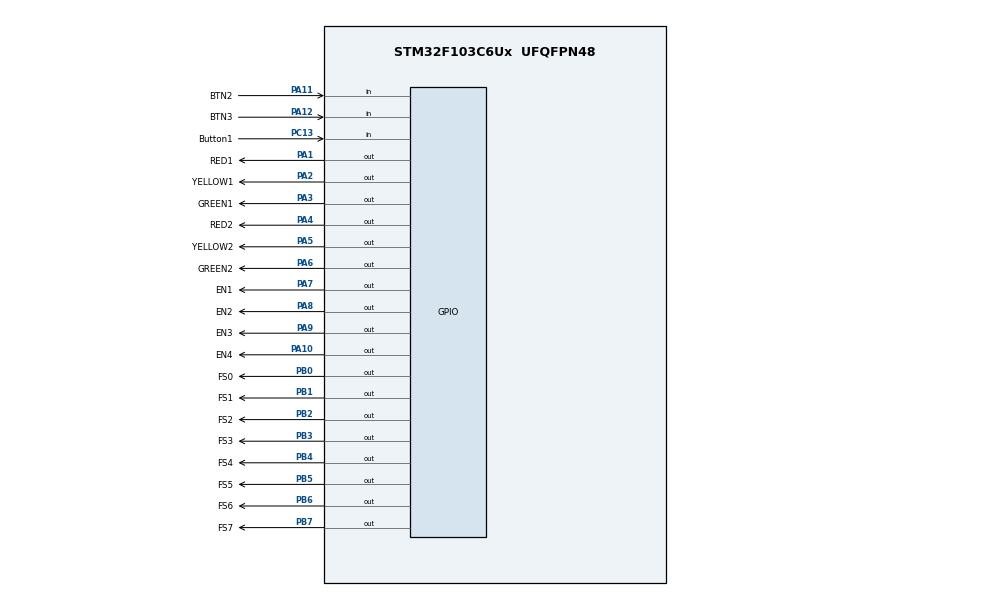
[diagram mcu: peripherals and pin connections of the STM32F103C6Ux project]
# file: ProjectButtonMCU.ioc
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Mcu.Family=STM32F1
Mcu.Name=STM32F103C6Ux
Mcu.Package=UFQFPN48
NVIC.PriorityGroup=NVIC_PRIORITYGROUP_4
NVIC.TIM2_IRQn=true\:0\:0\:false\:false\:true\:true\:true\:true
PA1.GPIO_Label=RED1
PA1.Signal=GPIO_Output
PA10.GPIO_Label=EN4
PA10.Signal=GPIO_Output
PA11.GPIO_Label=BTN2
PA11.GPIO_PuPd=GPIO_PULLUP
PA11.Signal=GPIO_Input
PA12.GPIO_Label=BTN3
PA12.GPIO_PuPd=GPIO_PULLUP
PA12.Signal=GPIO_Input
PA2.GPIO_Label=YELLOW1
PA2.Signal=GPIO_Output
PA3.GPIO_Label=GREEN1
PA3.Signal=GPIO_Output
PA4.GPIO_Label=RED2
PA4.Signal=GPIO_Output
PA5.GPIO_Label=YELLOW2
PA5.Signal=GPIO_Output
PA6.GPIO_Label=GREEN2
PA6.Signal=GPIO_Output
PA7.GPIO_Label=EN1
PA7.Signal=GPIO_Output
PA8.GPIO_Label=EN2
PA8.Signal=GPIO_Output
PA9.GPIO_Label=EN3
PA9.Signal=GPIO_Output
PB0.GPIO_Label=FS0
PB0.Signal=GPIO_Output
PB1.GPIO_Label=FS1
PB1.Signal=GPIO_Output
PB2.GPIO_Label=FS2
PB2.Signal=GPIO_Output
PB3.GPIO_Label=FS3
PB3.Signal=GPIO_Output
PB4.GPIO_Label=FS4
PB4.Signal=GPIO_Output
PB5.GPIO_Label=FS5
PB5.Signal=GPIO_Output
PB6.GPIO_Label=FS6
PB6.Signal=GPIO_Output
PB7.GPIO_Label=FS7
PB7.Signal=GPIO_Output
PC13-TAMPER-RTC.GPIO_Label=Button1
PC13-TAMPER-RTC.GPIO_PuPd=GPIO_PULLUP
PC13-TAMPER-RTC.Signal=GPIO_Input
ProjectManager.HeapSize=0x200
ProjectManager.StackSize=0x400
ProjectManager.TargetToolchain=STM32CubeIDE
RCC.APB1Freq_Value=8000000
RCC.APB2Freq_Value=8000000
TIM2.Period=9
TIM2.Prescaler=7999
VP_TIM2_VS_ClockSourceINT.Mode=Internal
board=custom

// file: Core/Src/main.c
/* USER CODE BEGIN Header */
/**
  ******************************************************************************
  * @file           : main.c
  * @brief          : Main program body
  ******************************************************************************
  * @attention
  *
  * Copyright (c) 2023 STMicroelectronics.
  * All rights reserved.
  *
  * This software is licensed under terms that can be found in the LICENSE file
  * in the root directory of this software component.
  * If no LICENSE file comes with this software, it is provided AS-IS.
  *
  ******************************************************************************
  */
/* USER CODE END Header */
#include "main.h"

/* USER CODE BEGIN Includes */
#include "button.h"
#include "sorfware_timer.h"
#include "fsm.h"
#include "display7SEG.h"
/* USER CODE END Includes */

TIM_HandleTypeDef htim2;

void SystemClock_Config(void);
static void MX_GPIO_Init(void);
static void MX_TIM2_Init(void);

int main(void)
{

  /* MCU Configuration--------------------------------------------------------*/

  /* Reset of all peripherals, Initializes the Flash interface and the Systick. */
  HAL_Init();

  /* Configure the system clock */
  SystemClock_Config();

  /* Initialize all configured peripherals */
  MX_GPIO_Init();
  MX_TIM2_Init();
  /* USER CODE BEGIN 2 */
  HAL_TIM_Base_Start_IT(&htim2);
  /* USER CODE END 2 */

  /* Infinite loop */
  /* USER CODE BEGIN WHILE */
	HAL_GPIO_WritePin(EN1_GPIO_Port, EN1_Pin, SET);
	HAL_GPIO_WritePin(EN2_GPIO_Port, EN2_Pin, SET);
	HAL_GPIO_WritePin(EN3_GPIO_Port, EN3_Pin, SET);
	HAL_GPIO_WritePin(EN4_GPIO_Port, EN4_Pin, SET);
  status = INIT;
  setUpButton();
  setTimer1(50);
  setTimer2(10);
  while (1)
  {
	  fsm_run();
    /* USER CODE END WHILE */

  }
}

void SystemClock_Config(void)
{
  RCC_OscInitTypeDef RCC_OscInitStruct = {0};
  RCC_ClkInitTypeDef RCC_ClkInitStruct = {0};

  /** Initializes the RCC Oscillators according to the specified parameters
  * in the RCC_OscInitTypeDef structure.
  */
  RCC_OscInitStruct.OscillatorType = RCC_OSCILLATORTYPE_HSI;
  RCC_OscInitStruct.HSIState = RCC_HSI_ON;
  RCC_OscInitStruct.HSICalibrationValue = RCC_HSICALIBRATION_DEFAULT;
  RCC_OscInitStruct.PLL.PLLState = RCC_PLL_NONE;
  if (HAL_RCC_OscConfig(&RCC_OscInitStruct) != HAL_OK)
  {
    Error_Handler();
  }

  /** Initializes the CPU, AHB and APB buses clocks
  */
  RCC_ClkInitStruct.ClockType = RCC_CLOCKTYPE_HCLK|RCC_CLOCKTYPE_SYSCLK
                              |RCC_CLOCKTYPE_PCLK1|RCC_CLOCKTYPE_PCLK2;
  RCC_ClkInitStruct.SYSCLKSource = RCC_SYSCLKSOURCE_HSI;
  RCC_ClkInitStruct.AHBCLKDivider = RCC_SYSCLK_DIV1;
  RCC_ClkInitStruct.APB1CLKDivider = RCC_HCLK_DIV1;
  RCC_ClkInitStruct.APB2CLKDivider = RCC_HCLK_DIV1;

  if (HAL_RCC_ClockConfig(&RCC_ClkInitStruct, FLASH_LATENCY_0) != HAL_OK)
  {
    Error_Handler();
  }
}

static void MX_TIM2_Init(void)
{

  TIM_ClockConfigTypeDef sClockSourceConfig = {0};
  TIM_MasterConfigTypeDef sMasterConfig = {0};

  htim2.Instance = TIM2;
  htim2.Init.Prescaler = 7999;
  htim2.Init.CounterMode = TIM_COUNTERMODE_UP;
  htim2.Init.Period = 9;
  htim2.Init.ClockDivision = TIM_CLOCKDIVISION_DIV1;
  htim2.Init.AutoReloadPreload = TIM_AUTORELOAD_PRELOAD_DISABLE;
  if (HAL_TIM_Base_Init(&htim2) != HAL_OK)
  {
    Error_Handler();
  }
  sClockSourceConfig.ClockSource = TIM_CLOCKSOURCE_INTERNAL;
  if (HAL_TIM_ConfigClockSource(&htim2, &sClockSourceConfig) != HAL_OK)
  {
    Error_Handler();
  }
  sMasterConfig.MasterOutputTrigger = TIM_TRGO_RESET;
  sMasterConfig.MasterSlaveMode = TIM_MASTERSLAVEMODE_DISABLE;
  if (HAL_TIMEx_MasterConfigSynchronization(&htim2, &sMasterConfig) != HAL_OK)
  {
    Error_Handler();
  }

}

static void MX_GPIO_Init(void)
{
  GPIO_InitTypeDef GPIO_InitStruct = {0};

  /* GPIO Ports Clock Enable */
  __HAL_RCC_GPIOC_CLK_ENABLE();
  __HAL_RCC_GPIOA_CLK_ENABLE();
  __HAL_RCC_GPIOB_CLK_ENABLE();

  /*Configure GPIO pin Output Level */
  HAL_GPIO_WritePin(GPIOA, RED1_Pin|YELLOW1_Pin|GREEN1_Pin|RED2_Pin
                          |YELLOW2_Pin|GREEN2_Pin|EN1_Pin|EN2_Pin
                          |EN3_Pin|EN4_Pin, GPIO_PIN_RESET);

  /*Configure GPIO pin Output Level */
  HAL_GPIO_WritePin(GPIOB, FS0_Pin|FS1_Pin|FS2_Pin|FS3_Pin
                          |FS4_Pin|FS5_Pin|FS6_Pin|FS7_Pin, GPIO_PIN_RESET);

  /*Configure GPIO pin : Button1_Pin */
  GPIO_InitStruct.Pin = Button1_Pin;
  GPIO_InitStruct.Mode = GPIO_MODE_INPUT;
  GPIO_InitStruct.Pull = GPIO_PULLUP;
  HAL_GPIO_Init(Button1_GPIO_Port, &GPIO_InitStruct);

  /*Configure GPIO pins : RED1_Pin YELLOW1_Pin GREEN1_Pin RED2_Pin
                           YELLOW2_Pin GREEN2_Pin EN1_Pin EN2_Pin
                           EN3_Pin EN4_Pin */
  GPIO_InitStruct.Pin = RED1_Pin|YELLOW1_Pin|GREEN1_Pin|RED2_Pin
                          |YELLOW2_Pin|GREEN2_Pin|EN1_Pin|EN2_Pin
                          |EN3_Pin|EN4_Pin;
  GPIO_InitStruct.Mode = GPIO_MODE_OUTPUT_PP;
  GPIO_InitStruct.Pull = GPIO_NOPULL;
  GPIO_InitStruct.Speed = GPIO_SPEED_FREQ_LOW;
  HAL_GPIO_Init(GPIOA, &GPIO_InitStruct);

  /*Configure GPIO pins : FS0_Pin FS1_Pin FS2_Pin FS3_Pin
                           FS4_Pin FS5_Pin FS6_Pin FS7_Pin */
  GPIO_InitStruct.Pin = FS0_Pin|FS1_Pin|FS2_Pin|FS3_Pin
                          |FS4_Pin|FS5_Pin|FS6_Pin|FS7_Pin;
  GPIO_InitStruct.Mode = GPIO_MODE_OUTPUT_PP;
  GPIO_InitStruct.Pull = GPIO_NOPULL;
  GPIO_InitStruct.Speed = GPIO_SPEED_FREQ_LOW;
  HAL_GPIO_Init(GPIOB, &GPIO_InitStruct);

  /*Configure GPIO pins : BTN2_Pin BTN3_Pin */
  GPIO_InitStruct.Pin = BTN2_Pin|BTN3_Pin;
  GPIO_InitStruct.Mode = GPIO_MODE_INPUT;
  GPIO_InitStruct.Pull = GPIO_PULLUP;
  HAL_GPIO_Init(GPIOA, &GPIO_InitStruct);

}

/* USER CODE BEGIN 4 */
void HAL_TIM_PeriodElapsedCallback(TIM_HandleTypeDef *htim){
	getKeyInput();
	timerRun();
}
/* USER CODE END 4 */

void Error_Handler(void)
{
  __disable_irq();
  while (1)
  {
  }
}
